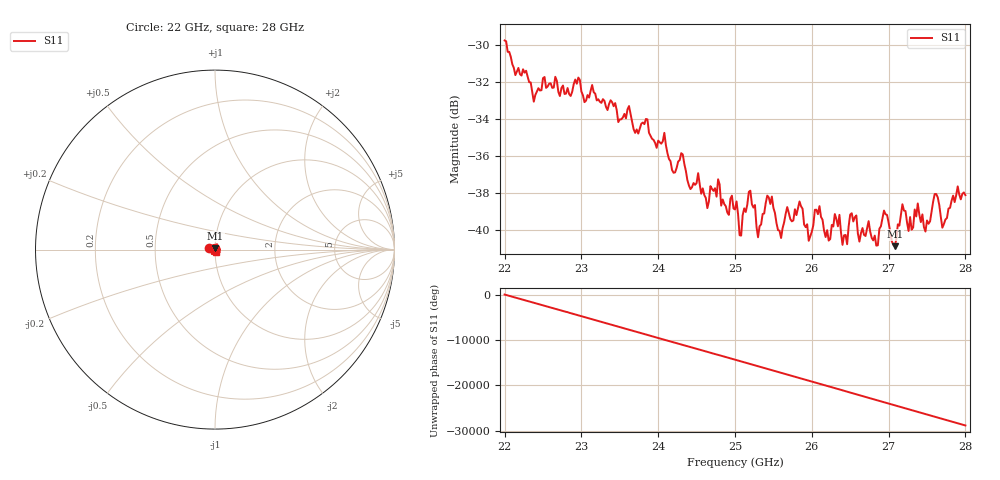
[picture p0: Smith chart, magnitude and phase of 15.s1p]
#  HZ  S  RI  R  50.00
! Rohde & Schwarz ZVA40 4Ports - Version 3.90 - 1145.1110k42 SN: 100403
! Date: 2023-10-04 10:25:33
! Measurement: S12
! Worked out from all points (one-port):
!   301 points, 22 GHz to 28 GHz, reference 50 ohm
!   lowest |S11| = -40.9 dB at 27.08 GHz (marker M1), VSWR 1.02, Z = 50.1 + j0.902 ohm
!   |S11| at or under -10 dB: start of sweep to end of sweep
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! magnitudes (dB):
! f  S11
! 22 GHz  -29.7
! 22.38 GHz  -33.1
! 22.76 GHz  -32.2
! 23.5 GHz  -34.0
! 24.26 GHz  -36.3
! 24.64 GHz  -38.8
! 24.78 GHz  -37.2
! 25 GHz  -38.9
! 25.08 GHz  -40.3
! 25.2 GHz  -37.9
! 25.3 GHz  -40.4
! 25.42 GHz  -38.1
! 25.6 GHz  -40.4
! 25.68 GHz  -38.7
! 25.76 GHz  -39.5
! 25.84 GHz  -38.4
! 25.96 GHz  -40.6
! 26.1 GHz  -38.7
! 26.22 GHz  -40.5
! 26.36 GHz  -39.2
! 26.4 GHz  -40.8
! 26.5 GHz  -39.1
! 26.84 GHz  -40.8
! 26.94 GHz  -38.9
! 27.08 GHz  -40.9
! 27.18 GHz  -38.6
! 27.26 GHz  -40.0
! 28 GHz  -38.1
